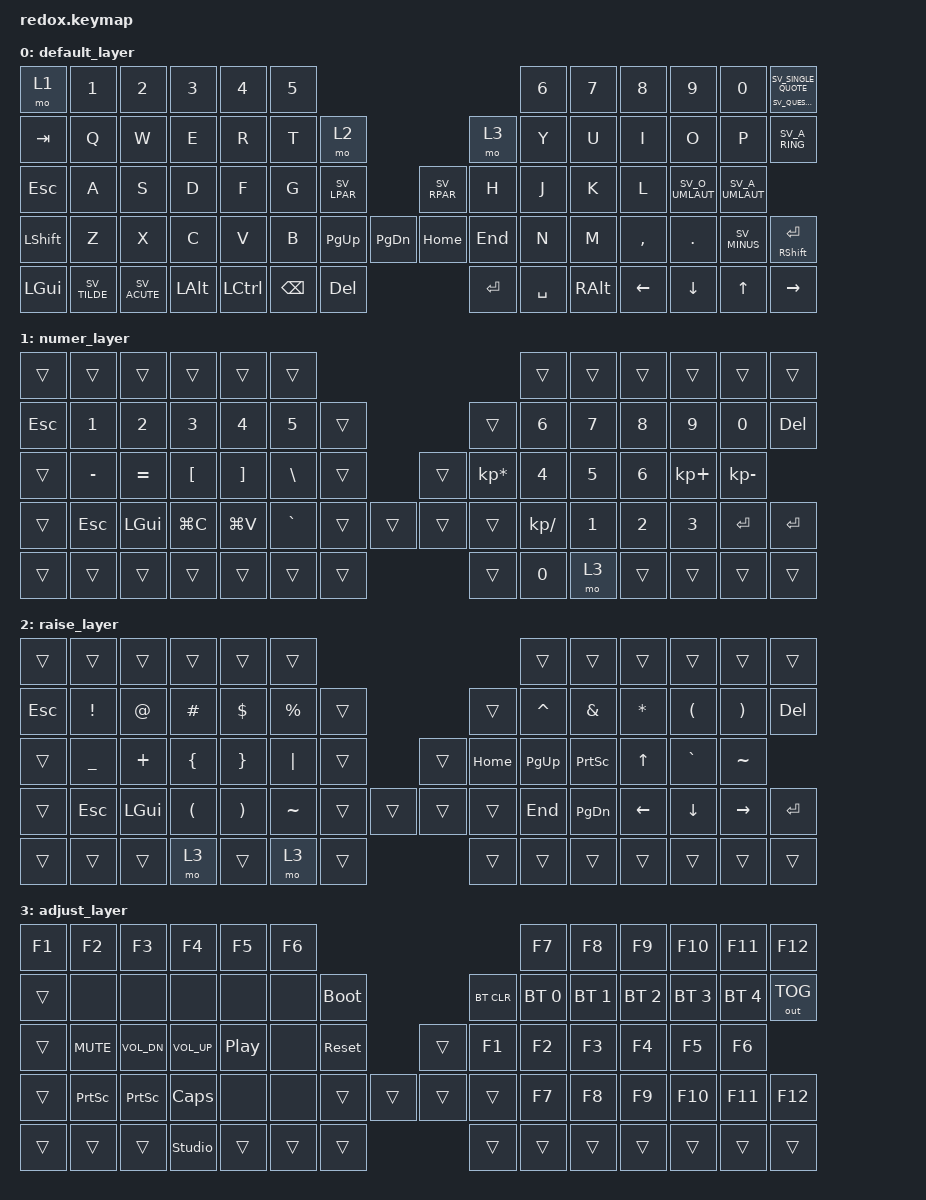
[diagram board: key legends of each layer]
/*
 * Copyright (c) 2021 The ZMK Contributors
 *
 * SPDX-License-Identifier: MIT
 */

#include <behaviors.dtsi>
#include <dt-bindings/zmk/bt.h>
#include <dt-bindings/zmk/keys.h>
#include <dt-bindings/zmk/outputs.h>
#include <locale/keys_sv.h>


/ {
    keymap {
        compatible = "zmk,keymap";

        default_layer { // Layer 0
            // --------------------------------------------------------------------------------------------------------------------------------
            // | LAYER1   |  1  |  2  |   3   |  4  |  5  |                ---                |  6    |  7    |  8    |  9   | 0  |    ?/SQOTE  |
            // | TAB   |  Q  |  W  |   E   |  R  |  T  | LAYER2 |          ---               | LAYER3 |  Y    |  U    |  I    |  O   | P  |  Å  |
            // | CTRL  |  A  |  S  |   D   |  F  |  G  |   (   |           ---        |  )    |  H    |  J    |  K    |  L   | Ö  |     Ä     |
            // | SHIFT |  Z  |  X  |   C   |  V  |  B  | PG_UP | PG_DOWN | --- | HOME | END   |  N    |  M    |  ,    |  .   | -  | SHFT(RET) |
            // | GUI | TILDE |  PIPE  | ALT |    LCTRL    | BSPC  | DEL     | --- | RET  | SPACE |     RIGHT_ALT  | LEFT  | DOWN | UP |   RIGHT   |

            bindings = <
&mo 1         &kp N1              &kp N2     &kp N3        &kp N4    &kp N5                                                                        &kp N6  &kp N7         &kp N8     &kp N9    &kp N0     &mt SV_QUESTION SV_SINGLE_QUOTE
&kp TAB       &kp Q               &kp W      &kp E         &kp R     &kp T   &mo 2                                          &mo 3                  &kp Y   &kp U          &kp I      &kp O     &kp P      &kp SV_A_RING
&kp ESC       &kp A               &kp S      &kp D         &kp F     &kp G   &kp SV_LPAR                           &kp SV_RPAR  &kp H   &kp J          &kp K      &kp L     &kp SV_O_UMLAUT   &kp SV_A_UMLAUT
&kp LSHFT     &kp Z               &kp X      &kp C         &kp V     &kp B   &kp PG_UP             &kp PG_DN     &kp HOME   &kp END                &kp N   &kp M          &kp COMMA  &kp DOT   &kp SV_MINUS  &mt RSHFT RET
&kp LEFT_GUI  &kp SV_TILDE &kp SV_ACUTE  &kp LEFT_ALT  &kp LCTRL          &kp BACKSPACE         &kp DELETE    &kp ENTER  &kp SPACE                      &kp RIGHT_ALT  &kp LEFT   &kp DOWN  &kp UP     &kp RIGHT
            >;
        };

        numer_layer { // Layer 1
            // --------------------------------------------------------------------------------------------------------------------------
            // | ESC   |  1  |  2  |   3   |   4   |  5  |                   ---              |  6  |  7  |   8  |  9   |  0  |  DEL  |
            // | ESC   |  1  |  2  |   3   |   4   |  5  |   (   |           ---        |  )  |  6  |  7  |   8  |  9   |  0  |  DEL  |
            // | CTRL  |  -  |  =  |   [   |   ]   |  \  |   [   |           ---        |  ]  |  *  |  4  |   5  |  6   |  +  |   -   |
            // | SHIFT | ESC | GUI | COPY  | PASTE |     | PG_UP | PG_DOWN | --- | HOME | END |  \  |  1  |   2  |  3   | RET |  RET  |
            // | CRTL  | ALT | GUI | LOWER |     GUI     | LOWER | SPACE   | --- | DEL  |  0  |    RAISE  | LEFT | DOWN | UP  | RIGHT |

            bindings = <
&trans   &trans     &trans     &trans     &trans     &trans                                       &trans           &trans  &trans  &trans  &trans       &trans
&kp ESC  &kp N1     &kp N2     &kp N3     &kp N4     &kp N5     &trans                    &trans  &kp N6           &kp N7  &kp N8  &kp N9  &kp N0       &kp DEL
&trans   &kp MINUS  &kp EQUAL  &kp LBKT   &kp RBKT   &kp BSLH   &trans                    &trans  &kp KP_MULTIPLY  &kp N4  &kp N5  &kp N6  &kp KP_PLUS  &kp KP_MINUS
&trans   &kp ESC    &kp LGUI   &kp LG(C)  &kp LG(V)  &kp GRAVE  &trans  &trans    &trans  &trans  &kp KP_DIVIDE    &kp N1  &kp N2  &kp N3  &kp RET      &kp RET
&trans   &trans     &trans     &trans     &trans                &trans  &trans    &trans  &kp N0                   &mo 3   &trans  &trans  &trans       &trans
            >;
        };

        raise_layer { // Layer 2
            // ----------------------------------------------------------------------------------------------------------------------------
            // | ESC   |  1  |  2  |   3   |  4  |  5  |                   ---                |  6   |  7   |  8   |  9   |  0    |  DEL  |
            // | ESC   |  !  |  @  |   #   |  $  |  %  |   (   |           ---        |  )    |  ^   |  &   |  *   |  (   |  )    |  DEL  |
            // | CTRL  |  _  |  +  |   {   |  }  | "|" |   [   |           ---        |  ]    | HOME | PGUP | PRSC | UP   |  `    |   ~   |
            // | SHIFT | ESC | GUI |   (   |  )  |     | PG_UP | PG_DOWN | --- | HOME | END   | END  | PGDN | LEFT | DOWN | RIGHT |  RET  |
            // | CRTL  | ALT | GUI | LOWER |    GUI    | LOWER | SPACE   | --- | DEL  | SPACE |    RAISE    | LEFT | DOWN | UP    | RIGHT |

            bindings = <
&trans   &trans     &trans    &trans    &trans    &trans                                       &trans     &trans     &trans     &trans    &trans     &trans
&kp ESC  &kp EXCL   &kp AT    &kp HASH  &kp DLLR  &kp PRCNT  &trans                    &trans  &kp CARET  &kp AMPS   &kp ASTRK  &kp LPAR  &kp RPAR   &kp DEL
&trans   &kp UNDER  &kp PLUS  &kp LBRC  &kp RBRC  &kp PIPE   &trans                    &trans  &kp HOME   &kp PG_UP  &kp PSCRN  &kp UP    &kp GRAVE  &kp TILDE
&trans   &kp ESC    &kp LGUI  &kp LPAR  &kp RPAR  &kp TILDE  &trans  &trans    &trans  &trans  &kp END    &kp PG_DN  &kp LEFT   &kp DOWN  &kp RIGHT  &kp RET
&trans   &trans     &trans    &mo 3     &trans               &mo 3   &trans    &trans  &trans             &trans     &trans     &trans    &trans     &trans
            >;
        };

        adjust_layer { // Layer 3
            // -----------------------------------------------------------------------------------------
            // |  F1   |  F2   |    F3    |    F4     |     F5     | F6 |                   ---                | F7  | F8  |  F9  |  F10 | F11 | F12        |
            // | TAB   |       |          |           |            |    | BOOTL |           ---        |  )    | BT1 | BT2 |  BT3 |  BT4 | BT5 | OUTPUT TGL |
            // | CTRL  | MUTE  |  Vol Dn  |  Vol Up   | Play/Pause |    | RESET |           ---        |  ]    | F1  | F2  |  F3  |  F4  | F5  | F6         |
            // | SHIFT | PSCRN |  PSCRN   |   CAPS    |            |    | PG_UP | PG_DOWN | --- | HOME | END   | F7  | F8  |  F9  |  F10 | F11 | F12        |
            // | CRTL  | ALT   | "|" |   ZMK_STUDIO   |      GUI        | LOWER | SPACE   | --- | DEL  | SPACE |   RAISE   | LEFT | DOWN | UP  |   RIGHT    |

            bindings = <
&kp F1  &kp F2      &kp F3        &kp F4        &kp F5            &kp F6                                             &kp F7        &kp F8        &kp F9        &kp F10       &kp F11       &kp F12
&trans  &none       &none         &none         &none             &none   &bootloader                    &bt BT_CLR  &bt BT_SEL 0  &bt BT_SEL 1  &bt BT_SEL 2  &bt BT_SEL 3  &bt BT_SEL 4  &out OUT_TOG
&trans  &kp K_MUTE  &kp C_VOL_DN  &kp C_VOL_UP  &kp C_PLAY_PAUSE  &none   &sys_reset                     &trans      &kp F1        &kp F2        &kp F3        &kp F4        &kp F5        &kp F6
&trans  &kp PSCRN   &kp PSCRN     &kp CLCK      &none             &none   &trans       &trans    &trans  &trans      &kp F7        &kp F8        &kp F9        &kp F10       &kp F11       &kp F12
&trans  &trans      &trans        &studio_unlock &trans                    &trans       &trans    &trans  &trans                    &trans        &trans        &trans        &trans        &trans
            >;
        };
    };
};
